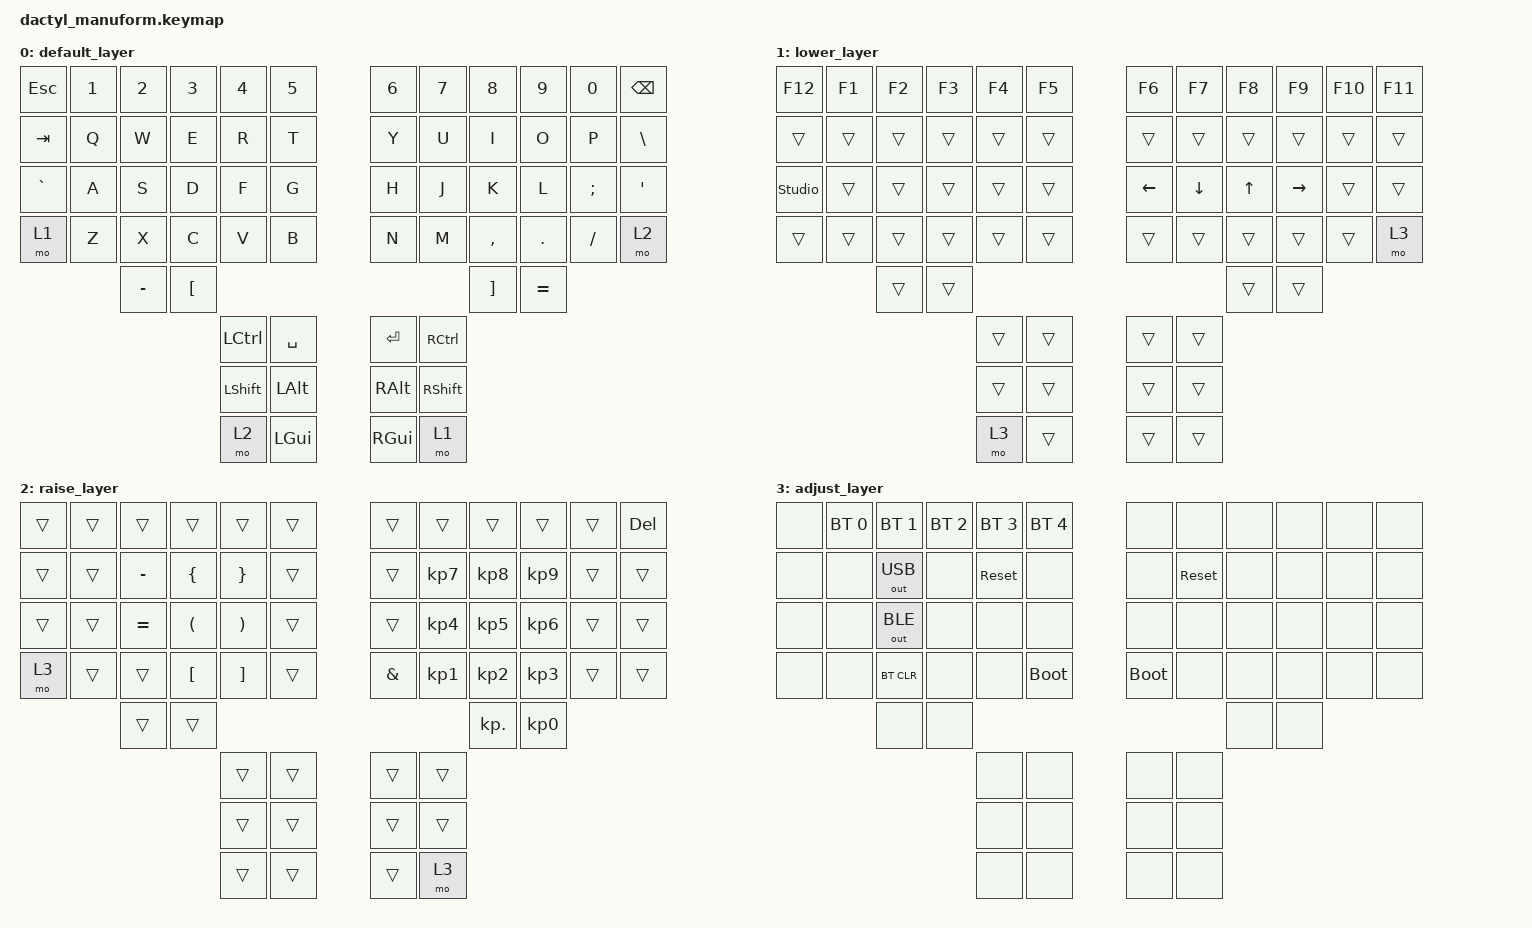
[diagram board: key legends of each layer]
#include <dt-bindings/zmk/mouse.h>
#include <behaviors.dtsi>
#include <dt-bindings/zmk/bt.h>
#include <dt-bindings/zmk/keys.h>
#include <dt-bindings/zmk/outputs.h>

/ {
    combos {
        compatible = "zmk,combos";

        studio_unlock {
            bindings = <&studio_unlock>;
            key-positions = <0 1>;
            timeout-ms = <50>;
        };

        left_bkt {
            bindings = <&kp LBKT>;
            key-positions = <3 2>;
            timeout-ms = <50>;
        };

        right_bkt {
            bindings = <&kp RBKT>;
            key-positions = <6 7>;
            timeout-ms = <50>;
        };

        left_par {
            bindings = <&kp LEFT_PARENTHESIS>;
            key-positions = <12 13>;
            timeout-ms = <50>;
        };

        right_par {
            bindings = <&kp RIGHT_PARENTHESIS>;
            key-positions = <16 17>;
            timeout-ms = <50>;
        };

        left_brace {
            bindings = <&kp LEFT_BRACE>;
            key-positions = <23 22>;
            timeout-ms = <50>;
        };

        right_brace {
            bindings = <&kp RIGHT_BRACE>;
            key-positions = <26 27>;
            timeout-ms = <50>;
        };

        bac {
            bindings = <&kp BACKSLASH>;
            key-positions = <4 5>;
        };

        pipe {
            bindings = <&kp PIPE>;
            key-positions = <14 15>;
        };
    };

    behaviors {
        hm: homerow_mods {
            compatible = "zmk,behavior-hold-tap";
            label = "HOMEROW_MODS";
            #binding-cells = <2>;
            tapping-term-ms = <200>;
            quick_tap_ms = <0>;
            flavor = "tap-preferred";
            bindings = <&kp>, <&kp>;

            quick-tap-ms = <180>;
            global-quick-tap;
        };

        ltq: ltq {
            compatible = "zmk,behavior-hold-tap";
            label = "LTQ";
            #binding-cells = <2>;
            tapping-term-ms = <200>;
            quick_tap_ms = <0>;
            flavor = "hold-preferred";
            bindings = <&mo>, <&kp>;

            quick-tap-ms = <180>;
            global-quick-tap;
        };

        as: as {
            compatible = "zmk,behavior-hold-tap";
            label = "AUTO_SHIFT";
            bindings = <&kp>, <&kp>;

            #binding-cells = <2>;
            tapping-term-ms = <135>;
            quick-tap-ms = <0>;
            flavor = "tap-preferred";
        };
    };
    
    keymap {
        compatible = "zmk,keymap";

        default_layer {
            bindings = <
                &kp ESC   &kp N1 &kp N2 &kp N3 &kp N4 &kp N5              &kp N6 &kp N7 &kp N8    &kp N9  &kp N0   &kp BSPC
                &kp TAB   &kp Q  &kp W  &kp E  &kp R  &kp T               &kp Y  &kp U  &kp I     &kp O   &kp P    &kp BSLH
                &kp GRAVE &kp A  &kp S  &kp D  &kp F  &kp G               &kp H  &kp J  &kp K     &kp L   &kp SEMI &kp SQT
                &mo 1     &kp Z  &kp X  &kp C  &kp V  &kp B               &kp N  &kp M  &kp COMMA &kp DOT &kp FSLH &mo 2
                                 &kp MINUS &kp LBKT                                     &kp RBKT  &kp EQUAL 
                                            &kp LCTRL &kp SPACE           &kp RET  &kp RCTRL
                                            &kp LSHFT &kp LALT            &kp RALT &kp RSHFT
                                            &mo 2     &kp LGUI            &kp RGUI &mo 1
            >;
        };

        lower_layer {
            bindings = <
                &kp F12 &kp F1 &kp F2 &kp F3 &kp F4 &kp F5                &kp F6 &kp F7   &kp F8   &kp F9 &kp F10   &kp F11
                &trans  &trans &trans &trans &trans &trans                &trans &trans   &trans   &trans &trans    &trans
                &studio_unlock  &trans &trans &trans &trans &trans        &kp LEFT &kp DOWN &kp UP &kp RIGHT &trans &trans 
                &trans  &trans &trans &trans &trans &trans                &trans &trans   &trans   &trans &trans    &mo 3
                               &trans &trans                                              &trans   &trans
                                             &trans &trans                &trans &trans
                                             &trans &trans                &trans &trans
                                             &mo 3 &trans                 &trans &trans
            >;
        };

        raise_layer {
            bindings = <
                &trans  &trans &trans &trans   &trans &trans              &trans &trans &trans &trans &trans &kp DEL
                &trans  &trans &kp MINUS &kp LBRC  &kp RBRC &trans            &trans &kp KP_N7 &kp KP_N8 &kp KP_N9 &trans &trans
                &trans  &trans &kp EQUAL &kp LPAR  &kp RPAR &trans            &trans &kp KP_N4 &kp KP_N5 &kp KP_N6 &trans &trans
                &mo 3   &trans &trans &kp LBKT &kp RBKT &trans            &kp AMPS &kp KP_N1 &kp KP_N2 &kp KP_N3 &trans &trans 
                               &trans &trans                                             &kp KP_DOT &kp KP_N0
                                             &trans  &trans               &trans &trans
                                             &trans  &trans               &trans &trans
                                             &trans  &trans               &trans &mo 3
            >;
        };

        adjust_layer {
            bindings = <
                &none &bt BT_SEL 0 &bt BT_SEL 1 &bt BT_SEL 2 &bt BT_SEL 3 &bt BT_SEL 4             &none       &none      &none &none &none &none
                &none &none        &out OUT_USB &none        &sys_reset   &none                    &none       &sys_reset &none &none &none &none
                &none &none        &out OUT_BLE &none        &none        &none                    &none       &none      &none &none &none &none
                &none &none        &bt BT_CLR   &none        &none        &bootloader              &bootloader &none      &none &none &none &none
                                   &none        &none                                                                     &none &none
                                                             &none        &none                    &none       &none
                                                             &none        &none                    &none       &none
                                                             &none        &none                    &none       &none
            >;
        };
    };
};
